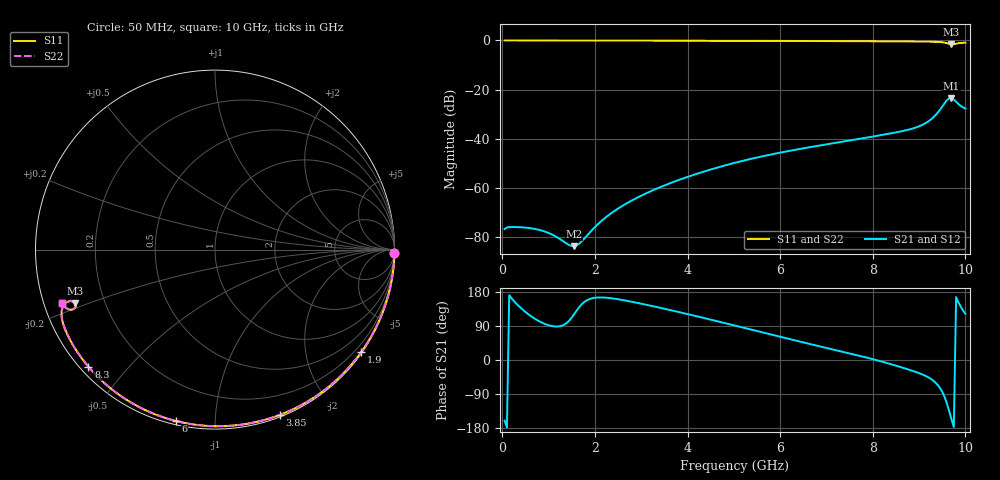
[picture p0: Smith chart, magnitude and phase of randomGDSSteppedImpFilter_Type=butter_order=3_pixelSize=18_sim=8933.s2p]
! freq	dB(S11)	phase(S11)	dB(S12)	phase(S12)
!  dB(S21)	phase(S21)	dB(S22)	phase(S22)
!S-par simulation data
#  GHz  S  DB  R 50
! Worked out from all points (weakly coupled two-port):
!   200 points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, 50 MHz to 10 GHz, reference 50 ohm
!   highest |S21| = -23.50 dB at 9.7 GHz (marker M1); lowest = -83.8 dB at 1.55 GHz (marker M2)
!   lowest |S11| = -1.6 dB at 9.7 GHz (marker M3), VSWR 10.99, Z = 4.71 - j9.15 ohm
!   |S11| at or under -10 dB: nowhere
!   |S22| runs from -1.6 to 0.0 dB; largest |S21 - S12| = 0
!   S11 on the Smith chart (normalised r, x): 50 MHz: open; 1.9 GHz: 0.03, -3.18; 3.85 GHz: 0.02, -1.46; 6 GHz: 0.02, -0.80; 8.3 GHz: 0.02, -0.39; 10 GHz: 0.05, -0.17
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0.05  -0.00 -0.9  -76.84 -160.1  -76.84 -160.1  -0.00 -0.9
0.55  -0.01 -10.3  -76.32 121.8  -76.32 121.8  -0.01 -10.3
1.2  -0.03 -22.3  -80.34 88.4  -80.34 88.4  -0.03 -22.3
1.55  -0.04 -28.6  -83.79 120.6  -83.79 120.6  -0.04 -28.6
1.75  -0.04 -32.2  -81.13 151.1  -81.13 151.1  -0.04 -32.2
1.9  -0.04 -34.9  -77.97 161.5  -77.97 161.5  -0.04 -34.9
2.5  -0.06 -45.6  -68.47 160.3  -68.47 160.3  -0.06 -45.6
3.4  -0.08 -61.1  -59.83 138.0  -59.83 138.0  -0.08 -61.1
3.85  -0.09 -68.7  -56.57 125.5  -56.57 125.5  -0.09 -68.7
5.05  -0.14 -88.1  -49.70 90.0  -49.70 90.0  -0.14 -88.1
6  -0.18 -102.8  -45.69 61.2  -45.69 61.2  -0.18 -102.8
6.7  -0.22 -113.3  -43.28 40.7  -43.28 40.7  -0.22 -113.3
8.3  -0.35 -137.2  -38.15 -7.8  -38.15 -7.8  -0.35 -137.2
8.35  -0.35 -138.0  -37.98 -9.5  -37.98 -9.5  -0.35 -138.0
8.85  -0.41 -145.8  -35.94 -28.2  -35.94 -28.2  -0.41 -145.8
9.15  -0.47 -150.8  -33.56 -42.5  -33.56 -42.5  -0.47 -150.8
9.35  -0.54 -154.7  -30.50 -59.2  -30.50 -59.2  -0.54 -154.7
9.5  -0.73 -158.2  -26.92 -84.0  -26.92 -84.0  -0.73 -158.2
9.6  -1.09 -160.4  -24.33 -114.4  -24.33 -114.4  -1.09 -160.4
9.7  -1.59 -159.1  -23.50 -156.7  -23.50 -156.7  -1.59 -159.1
9.8  -1.30 -157.1  -24.97 166.1  -24.97 166.1  -1.30 -157.1
10  -0.88 -160.8  -27.72 121.9  -27.72 121.9  -0.88 -160.8
